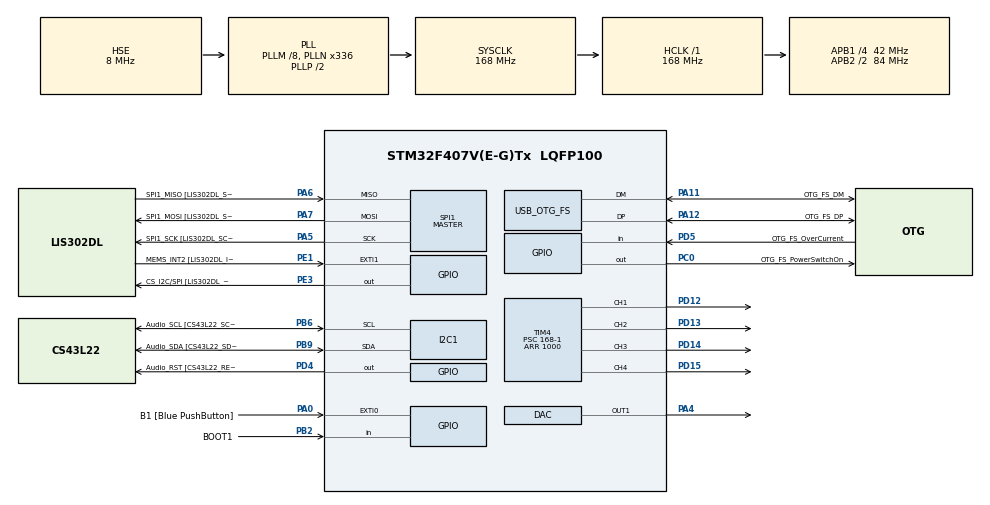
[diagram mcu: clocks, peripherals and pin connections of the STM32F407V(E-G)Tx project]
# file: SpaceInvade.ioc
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DAC.DAC_Trigger=DAC_TRIGGER_T2_TRGO
Dma.DAC1.0.Direction=DMA_MEMORY_TO_PERIPH
Dma.DAC1.0.FIFOMode=DMA_FIFOMODE_DISABLE
Dma.DAC1.0.Instance=DMA1_Stream5
Dma.DAC1.0.MemDataAlignment=DMA_MDATAALIGN_WORD
Dma.DAC1.0.MemInc=DMA_MINC_ENABLE
Dma.DAC1.0.Mode=DMA_CIRCULAR
Dma.DAC1.0.PeriphDataAlignment=DMA_PDATAALIGN_WORD
Dma.DAC1.0.PeriphInc=DMA_PINC_DISABLE
Dma.DAC1.0.Priority=DMA_PRIORITY_LOW
Dma.Request0=DAC1
Mcu.Family=STM32F4
Mcu.Name=STM32F407V(E-G)Tx
Mcu.Package=LQFP100
NVIC.DMA1_Stream5_IRQn=true\:0\:0\:false\:false\:true\:false\:true\:true
NVIC.OTG_FS_IRQn=true\:0\:0\:false\:false\:true\:true\:true\:true
NVIC.PriorityGroup=NVIC_PRIORITYGROUP_0
NVIC.TIM2_IRQn=true\:0\:0\:false\:false\:true\:true\:true\:true
NVIC.TIM6_DAC_IRQn=true\:0\:0\:false\:false\:true\:true\:true\:true
PA0-WKUP.GPIO_Label=B1 [Blue PushButton]
PA0-WKUP.GPIO_ModeDefaultEXTI=GPIO_MODE_EVT_RISING
PA0-WKUP.GPIO_PuPd=GPIO_NOPULL
PA0-WKUP.Signal=GPXTI0
PA10.GPIO_Label=OTG_FS_ID
PA10.GPIO_Mode=GPIO_MODE_AF_PP
PA10.GPIO_PuPd=GPIO_NOPULL
PA10.GPIO_Speed=GPIO_SPEED_FREQ_LOW
PA10.Signal=USB_OTG_FS_ID
PA11.GPIO_Label=OTG_FS_DM
PA11.GPIO_Mode=GPIO_MODE_AF_PP
PA11.GPIO_PuPd=GPIO_NOPULL
PA11.GPIO_Speed=GPIO_SPEED_FREQ_LOW
PA11.Mode=Device_Only
PA11.Signal=USB_OTG_FS_DM
PA12.GPIO_Label=OTG_FS_DP
PA12.GPIO_Mode=GPIO_MODE_AF_PP
PA12.GPIO_PuPd=GPIO_NOPULL
PA12.GPIO_Speed=GPIO_SPEED_FREQ_LOW
PA12.Mode=Device_Only
PA12.Signal=USB_OTG_FS_DP
PA13.GPIO_Label=SWDIO
PA13.Mode=Serial_Wire
PA13.Signal=SYS_JTMS-SWDIO
PA14.GPIO_Label=SWCLK
PA14.Mode=Serial_Wire
PA14.Signal=SYS_JTCK-SWCLK
PA4.Signal=COMP_DAC1_group
PA5.GPIO_Label=SPI1_SCK [LIS302DL_SCL/SPC]
PA5.GPIO_Mode=GPIO_MODE_AF_PP
PA5.GPIO_PuPd=GPIO_NOPULL
PA5.GPIO_Speed=GPIO_SPEED_FREQ_LOW
PA5.Mode=Full_Duplex_Master
PA5.Signal=SPI1_SCK
PA6.GPIO_Label=SPI1_MISO [LIS302DL_SDO]
PA6.GPIO_Mode=GPIO_MODE_AF_PP
PA6.GPIO_PuPd=GPIO_NOPULL
PA6.GPIO_Speed=GPIO_SPEED_FREQ_LOW
PA6.Mode=Full_Duplex_Master
PA6.Signal=SPI1_MISO
PA7.GPIO_Label=SPI1_MOSI [LIS302DL_SDA/SDI/SDO]
PA7.GPIO_Mode=GPIO_MODE_AF_PP
PA7.GPIO_PuPd=GPIO_NOPULL
PA7.GPIO_Speed=GPIO_SPEED_FREQ_LOW
PA7.Mode=Full_Duplex_Master
PA7.Signal=SPI1_MOSI
PA9.GPIO_Label=VBUS_FS
PA9.GPIO_Mode=GPIO_MODE_INPUT
PA9.GPIO_PuPd=GPIO_NOPULL
PA9.Signal=USB_OTG_FS_VBUS
PB10.GPIO_Label=CLK_IN [MP45DT02_CLK]
PB10.GPIO_Mode=GPIO_MODE_AF_PP
PB10.GPIO_PuPd=GPIO_NOPULL
PB10.GPIO_Speed=GPIO_SPEED_FREQ_LOW
PB10.Signal=I2S2_CK
PB2.GPIO_Label=BOOT1
PB2.GPIO_Mode=GPIO_MODE_INPUT
PB2.GPIO_PuPd=GPIO_NOPULL
PB2.Signal=GPIO_Input
PB3.GPIO_Label=SWO
PB3.Signal=SYS_JTDO-SWO
PB6.GPIO_Label=Audio_SCL [CS43L22_SCL]
PB6.GPIO_Mode=GPIO_MODE_AF_OD
PB6.GPIO_Pu=GPIO_PULLUP
PB6.GPIO_PuPd=GPIO_NOPULL
PB6.GPIO_Speed=GPIO_SPEED_FREQ_LOW
PB6.Mode=I2C
PB6.Signal=I2C1_SCL
PB9.GPIO_Label=Audio_SDA [CS43L22_SDA]
PB9.GPIO_Mode=GPIO_MODE_AF_OD
PB9.GPIO_Pu=GPIO_PULLUP
PB9.GPIO_PuPd=GPIO_NOPULL
PB9.GPIO_Speed=GPIO_SPEED_FREQ_LOW
PB9.Mode=I2C
PB9.Signal=I2C1_SDA
PC0.GPIO_Label=OTG_FS_PowerSwitchOn
PC0.GPIO_PuPd=GPIO_NOPULL
PC0.GPIO_Speed=GPIO_SPEED_FREQ_LOW
PC0.PinState=GPIO_PIN_SET
PC0.Signal=GPIO_Output
PC10.GPIO_Label=I2S3_SCK [CS43L22_SCLK]
PC10.GPIO_Mode=GPIO_MODE_AF_PP
PC10.GPIO_PuPd=GPIO_NOPULL
PC10.GPIO_Speed=GPIO_SPEED_FREQ_LOW
PC10.Signal=I2S3_CK
PC12.GPIO_Label=I2S3_SD [CS43L22_SDIN]
PC12.GPIO_Mode=GPIO_MODE_AF_PP
PC12.GPIO_PuPd=GPIO_NOPULL
PC12.GPIO_Speed=GPIO_SPEED_FREQ_LOW
PC12.Signal=I2S3_SD
PC14-OSC32_IN.GPIO_Label=PC14-OSC32_IN
PC14-OSC32_IN.Mode=LSE-External-Oscillator
PC14-OSC32_IN.Signal=RCC_OSC32_IN
PC15-OSC32_OUT.GPIO_Label=PC15-OSC32_OUT
PC15-OSC32_OUT.Mode=LSE-External-Oscillator
PC15-OSC32_OUT.Signal=RCC_OSC32_OUT
PC3.GPIO_Label=PDM_OUT [MP45DT02_DOUT]
PC3.GPIO_Mode=GPIO_MODE_AF_PP
PC3.GPIO_PuPd=GPIO_NOPULL
PC3.GPIO_Speed=GPIO_SPEED_FREQ_LOW
PC3.Signal=I2S2_SD
PC7.GPIO_Label=I2S3_MCK [CS43L22_MCLK]
PC7.GPIO_Mode=GPIO_MODE_AF_PP
PC7.GPIO_PuPd=GPIO_NOPULL
PC7.GPIO_Speed=GPIO_SPEED_FREQ_LOW
PC7.Signal=I2S3_MCK
PD12.Signal=S_TIM4_CH1
PD13.Signal=S_TIM4_CH2
PD14.Signal=S_TIM4_CH3
PD15.Signal=S_TIM4_CH4
PD4.GPIO_Label=Audio_RST [CS43L22_RESET]
PD4.GPIO_PuPd=GPIO_NOPULL
PD4.GPIO_Speed=GPIO_SPEED_FREQ_LOW
PD4.Signal=GPIO_Output
PD5.GPIO_Label=OTG_FS_OverCurrent
PD5.GPIO_Mode=GPIO_MODE_INPUT
PD5.GPIO_PuPd=GPIO_NOPULL
PD5.Signal=GPIO_Input
PE1.GPIO_Label=MEMS_INT2 [LIS302DL_INT2]
PE1.GPIO_ModeDefaultEXTI=GPIO_MODE_EVT_RISING
PE1.GPIO_PuPd=GPIO_NOPULL
PE1.Signal=GPXTI1
PE3.GPIO_Label=CS_I2C/SPI [LIS302DL_CS_I2C/SPI]
PE3.GPIO_PuPd=GPIO_NOPULL
PE3.GPIO_Speed=GPIO_SPEED_FREQ_LOW
PE3.Signal=GPIO_Output
PH0-OSC_IN.GPIO_Label=PH0-OSC_IN
PH0-OSC_IN.Mode=HSE-External-Oscillator
PH0-OSC_IN.Signal=RCC_OSC_IN
PH1-OSC_OUT.GPIO_Label=PH1-OSC_OUT
PH1-OSC_OUT.Mode=HSE-External-Oscillator
PH1-OSC_OUT.Signal=RCC_OSC_OUT
ProjectManager.HeapSize=0x200
ProjectManager.StackSize=0x400
ProjectManager.TargetToolchain=STM32CubeIDE
RCC.48MHZClocksFreq_Value=48000000
RCC.AHBFreq_Value=168000000
RCC.APB1CLKDivider=RCC_HCLK_DIV4
RCC.APB1Freq_Value=42000000
RCC.APB1TimFreq_Value=84000000
RCC.APB2CLKDivider=RCC_HCLK_DIV2
RCC.APB2Freq_Value=84000000
RCC.APB2TimFreq_Value=168000000
RCC.CortexFreq_Value=168000000
RCC.HCLKFreq_Value=168000000
RCC.HSE_VALUE=8000000
RCC.HSI_VALUE=16000000
RCC.PLLM=8
RCC.PLLN=336
RCC.PLLQ=7
RCC.SYSCLKFreq_VALUE=168000000
RCC.SYSCLKSource=RCC_SYSCLKSOURCE_PLLCLK
RCC.VCOOutputFreq_Value=336000000
SH.COMP_DAC1_group.0=DAC_OUT1,DAC_OUT1
SH.S_TIM4_CH1.0=TIM4_CH1,PWM Generation1 CH1
SH.S_TIM4_CH2.0=TIM4_CH2,PWM Generation2 CH2
SH.S_TIM4_CH3.0=TIM4_CH3,PWM Generation3 CH3
SH.S_TIM4_CH4.0=TIM4_CH4,PWM Generation4 CH4
SPI1.BaudRatePrescaler-Full_Duplex_Master=SPI_BAUDRATEPRESCALER_2
SPI1.CalculateBaudRate-Full_Duplex_Master=42.0 MBits/s
SPI1.Direction=SPI_DIRECTION_2LINES
SPI1.Mode=SPI_MODE_MASTER
SPI1.Mode-Full_Duplex_Master=SPI_MODE_MASTER
SPI1.VirtualType=VM_MASTER
TIM2.Period=100-1
TIM2.Prescaler=10-1
TIM2.TIM_MasterOutputTrigger=TIM_TRGO_UPDATE
TIM4.AutoReloadPreload=TIM_AUTORELOAD_PRELOAD_ENABLE
TIM4.Channel-PWM\ Generation1\ CH1=TIM_CHANNEL_1
TIM4.Channel-PWM\ Generation2\ CH2=TIM_CHANNEL_2
TIM4.Channel-PWM\ Generation3\ CH3=TIM_CHANNEL_3
TIM4.Channel-PWM\ Generation4\ CH4=TIM_CHANNEL_4
TIM4.Period=1000
TIM4.Prescaler=168-1
TIM6.AutoReloadPreload=TIM_AUTORELOAD_PRELOAD_ENABLE
TIM6.Period=20000
TIM6.Prescaler=168-1
USB_DEVICE.CLASS_NAME_FS=CDC
USB_DEVICE.VirtualMode-CDC_FS=Cdc
USB_DEVICE.VirtualModeFS=Cdc_FS
USB_OTG_FS.VirtualMode=Device_Only
VP_TIM2_VS_ClockSourceINT.Mode=Internal
VP_TIM4_VS_ClockSourceINT.Mode=Internal
VP_TIM6_VS_ClockSourceINT.Mode=Enable_Timer
VP_USB_DEVICE_VS_USB_DEVICE_CDC_FS.Mode=CDC_FS
board=STM32F407G-DISC1

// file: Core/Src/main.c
/* USER CODE BEGIN Header */
/**
  ******************************************************************************
  * @file           : main.c
  * @brief          : Main program body
  ******************************************************************************
  * @attention
  *
  * Copyright (c) 2023 STMicroelectronics.
  * All rights reserved.
  *
  * This software is licensed under terms that can be found in the LICENSE file
  * in the root directory of this software component.
  * If no LICENSE file comes with this software, it is provided AS-IS.
  *
  ******************************************************************************
  */
/* USER CODE END Header */
#include "main.h"
#include "usb_device.h"

/* USER CODE BEGIN Includes */
#include "LIS3DSH.h"
#include "usbd_cdc_if.h"
/* USER CODE END Includes */

/* USER CODE BEGIN PD */
#define Ns 128 					// Number of samples for the DMA buffer
/* USER CODE END PD */

DAC_HandleTypeDef hdac;
DMA_HandleTypeDef hdma_dac1;

I2C_HandleTypeDef hi2c1;

SPI_HandleTypeDef hspi1;

TIM_HandleTypeDef htim2;
TIM_HandleTypeDef htim4;
TIM_HandleTypeDef htim6;

void SystemClock_Config(void);
static void MX_GPIO_Init(void);
static void MX_DMA_Init(void);
static void MX_I2C1_Init(void);
static void MX_SPI1_Init(void);
static void MX_TIM6_Init(void);
static void MX_TIM4_Init(void);
static void MX_DAC_Init(void);
static void MX_TIM2_Init(void);
/* USER CODE BEGIN PFP */
void setSineData(int8_t roll, int8_t pitch);
/* USER CODE END PFP */

/* USER CODE BEGIN 0 */

// Initialize Variables
int16_t pData[3] = {0};
int8_t pAngles[2] = {0};
char txBuffer[10] = "";
uint32_t pSineData[Ns];
uint16_t rollFwdPWM = 0;
uint16_t rollBackPWM = 0;
uint16_t pitchRightPWM = 0;
uint16_t pitchLeftPWM = 0;

void setSineData(int8_t pitch, int8_t roll){

	// Calculate frequency and amplitude proportional to pitch and roll
	uint8_t frequency = (uint8_t)(pitch < 0 ? -1*pitch : pitch);
	float amplitude = (fabsf(roll)+1) / 90.0;

    for (uint8_t i = 0; i < Ns; i++)
    {
        // Calculate the amplitude of the sine wave (scaled to DAC's 12-bit resolution)
        // Adjust the amplitude proportionally to the roll value
    	pSineData[i] = ((uint32_t)((sin(2 * 3.1415 * i / Ns) + 1) * (4096 / 2))) * amplitude;
    }

    // Adjust the frequency of the sine wave proportionally to the pitch value
    uint16_t new_ARR = 90 - frequency; // Modify the value as needed based on the desired range for pitch
    htim2.Instance->ARR = new_ARR;
}

void HAL_TIM_PeriodElapsedCallback(TIM_HandleTypeDef *htim){
	// Execute the following for timer 6
	if(htim == &htim6){

		// Get accelerometer XYZ coordinates and calculate pitch and roll
		ACCELERO_GetXYZ(pData);
		calcAngles(pData, pAngles);

		// Convert pitch and roll to string format
		sprintf(txBuffer, "%d,%d\r\n", pAngles[0], pAngles[1]);

		// Transmit pitch and roll values over USB_OTG_FS
		CDC_Transmit_FS((uint8_t*)txBuffer, strlen(txBuffer));
	}
}
/* USER CODE END 0 */

int main(void)
{

  /* MCU Configuration--------------------------------------------------------*/

  /* Reset of all peripherals, Initializes the Flash interface and the Systick. */
  HAL_Init();

  /* Configure the system clock */
  SystemClock_Config();

  /* Initialize all configured peripherals */
  MX_GPIO_Init();
  MX_DMA_Init();
  MX_I2C1_Init();
  MX_SPI1_Init();
  MX_TIM6_Init();
  MX_USB_DEVICE_Init();
  MX_TIM4_Init();
  MX_DAC_Init();
  MX_TIM2_Init();
  /* USER CODE BEGIN 2 */

  // Initialize the accelerometer
  ACCELERO_Init();

  // Start the timer 6 in interrupt mode to generate periodic interrupts.
  HAL_TIM_Base_Start_IT(&htim6);

  // Start the PWM output on timer 4 for channels 1, 2, 3, and 4. This enables the PWM output for LEDS
  HAL_TIM_PWM_Start(&htim4, TIM_CHANNEL_1);
  HAL_TIM_PWM_Start(&htim4, TIM_CHANNEL_2);
  HAL_TIM_PWM_Start(&htim4, TIM_CHANNEL_3);
  HAL_TIM_PWM_Start(&htim4, TIM_CHANNEL_4);

  // Start the timer 2 in normal mode
  HAL_TIM_Base_Start(&htim2);

  // Set amplitude and frequency for DAC sinewave output
  setSineData(pAngles[0], pAngles[1]);

  // Start the DMA (Direct Memory Access) transfer to DAC (Digital-to-Analog Converter) channel 1 in 12-bit right alignment.
  // pSineData is the buffer containing sine wave data, and Ns is the number of data points in the buffer.
  HAL_DAC_Start_DMA(&hdac, DAC_CHANNEL_1, pSineData, Ns, DAC_ALIGN_12B_R);

  /* USER CODE END 2 */

  /* Infinite loop */
  while (1)
  {

    /* USER CODE BEGIN 3 */

	// Calculate pitchLeftPWM and pitchRightPWM based on pAngles[0]
	pitchLeftPWM = (pAngles[0] < 0) ? -pAngles[0] * 100 / 9 : 0;
	pitchRightPWM = (pAngles[0] >= 0) ? pAngles[0] * 100 / 9 : 0;

	// Calculate rollBackPWM and rollFwdPWM based on pAngles[1]
	rollBackPWM = (pAngles[1] < 0) ? -pAngles[1] * 100 / 9 : 0;
	rollFwdPWM = (pAngles[1] >= 0) ? pAngles[1] * 100 / 9 : 0;

	// Set the compare registers of TIM4 to control the PWM output of LEDs
	__HAL_TIM_SET_COMPARE(&htim4, TIM_CHANNEL_1, pitchLeftPWM);
	__HAL_TIM_SET_COMPARE(&htim4, TIM_CHANNEL_2, rollFwdPWM);
	__HAL_TIM_SET_COMPARE(&htim4, TIM_CHANNEL_3, pitchRightPWM);
	__HAL_TIM_SET_COMPARE(&htim4, TIM_CHANNEL_4, rollBackPWM);

	// Set new amplitude and frequency for DAC sinewave output
	setSineData(pAngles[0], pAngles[1]);

  }
  /* USER CODE END 3 */
}

void SystemClock_Config(void)
{
  RCC_OscInitTypeDef RCC_OscInitStruct = {0};
  RCC_ClkInitTypeDef RCC_ClkInitStruct = {0};

  /** Configure the main internal regulator output voltage
  */
  __HAL_RCC_PWR_CLK_ENABLE();
  __HAL_PWR_VOLTAGESCALING_CONFIG(PWR_REGULATOR_VOLTAGE_SCALE1);

  /** Initializes the RCC Oscillators according to the specified parameters
  * in the RCC_OscInitTypeDef structure.
  */
  RCC_OscInitStruct.OscillatorType = RCC_OSCILLATORTYPE_HSE;
  RCC_OscInitStruct.HSEState = RCC_HSE_ON;
  RCC_OscInitStruct.PLL.PLLState = RCC_PLL_ON;
  RCC_OscInitStruct.PLL.PLLSource = RCC_PLLSOURCE_HSE;
  RCC_OscInitStruct.PLL.PLLM = 8;
  RCC_OscInitStruct.PLL.PLLN = 336;
  RCC_OscInitStruct.PLL.PLLP = RCC_PLLP_DIV2;
  RCC_OscInitStruct.PLL.PLLQ = 7;
  if (HAL_RCC_OscConfig(&RCC_OscInitStruct) != HAL_OK)
  {
    Error_Handler();
  }

  /** Initializes the CPU, AHB and APB buses clocks
  */
  RCC_ClkInitStruct.ClockType = RCC_CLOCKTYPE_HCLK|RCC_CLOCKTYPE_SYSCLK
                              |RCC_CLOCKTYPE_PCLK1|RCC_CLOCKTYPE_PCLK2;
  RCC_ClkInitStruct.SYSCLKSource = RCC_SYSCLKSOURCE_PLLCLK;
  RCC_ClkInitStruct.AHBCLKDivider = RCC_SYSCLK_DIV1;
  RCC_ClkInitStruct.APB1CLKDivider = RCC_HCLK_DIV4;
  RCC_ClkInitStruct.APB2CLKDivider = RCC_HCLK_DIV2;

  if (HAL_RCC_ClockConfig(&RCC_ClkInitStruct, FLASH_LATENCY_5) != HAL_OK)
  {
    Error_Handler();
  }
}

static void MX_DAC_Init(void)
{

  DAC_ChannelConfTypeDef sConfig = {0};

  /** DAC Initialization
  */
  hdac.Instance = DAC;
  if (HAL_DAC_Init(&hdac) != HAL_OK)
  {
    Error_Handler();
  }

  /** DAC channel OUT1 config
  */
  sConfig.DAC_Trigger = DAC_TRIGGER_T2_TRGO;
  sConfig.DAC_OutputBuffer = DAC_OUTPUTBUFFER_ENABLE;
  if (HAL_DAC_ConfigChannel(&hdac, &sConfig, DAC_CHANNEL_1) != HAL_OK)
  {
    Error_Handler();
  }

}

static void MX_I2C1_Init(void)
{

  hi2c1.Instance = I2C1;
  hi2c1.Init.ClockSpeed = 100000;
  hi2c1.Init.DutyCycle = I2C_DUTYCYCLE_2;
  hi2c1.Init.OwnAddress1 = 0;
  hi2c1.Init.AddressingMode = I2C_ADDRESSINGMODE_7BIT;
  hi2c1.Init.DualAddressMode = I2C_DUALADDRESS_DISABLE;
  hi2c1.Init.OwnAddress2 = 0;
  hi2c1.Init.GeneralCallMode = I2C_GENERALCALL_DISABLE;
  hi2c1.Init.NoStretchMode = I2C_NOSTRETCH_DISABLE;
  if (HAL_I2C_Init(&hi2c1) != HAL_OK)
  {
    Error_Handler();
  }

}

static void MX_SPI1_Init(void)
{

  /* SPI1 parameter configuration*/
  hspi1.Instance = SPI1;
  hspi1.Init.Mode = SPI_MODE_MASTER;
  hspi1.Init.Direction = SPI_DIRECTION_2LINES;
  hspi1.Init.DataSize = SPI_DATASIZE_8BIT;
  hspi1.Init.CLKPolarity = SPI_POLARITY_LOW;
  hspi1.Init.CLKPhase = SPI_PHASE_1EDGE;
  hspi1.Init.NSS = SPI_NSS_SOFT;
  hspi1.Init.BaudRatePrescaler = SPI_BAUDRATEPRESCALER_16;
  hspi1.Init.FirstBit = SPI_FIRSTBIT_MSB;
  hspi1.Init.TIMode = SPI_TIMODE_DISABLE;
  hspi1.Init.CRCCalculation = SPI_CRCCALCULATION_DISABLE;
  hspi1.Init.CRCPolynomial = 10;
  if (HAL_SPI_Init(&hspi1) != HAL_OK)
  {
    Error_Handler();
  }

}

static void MX_TIM2_Init(void)
{

  TIM_ClockConfigTypeDef sClockSourceConfig = {0};
  TIM_MasterConfigTypeDef sMasterConfig = {0};

  htim2.Instance = TIM2;
  htim2.Init.Prescaler = 10-1;
  htim2.Init.CounterMode = TIM_COUNTERMODE_UP;
  htim2.Init.Period = 100-1;
  htim2.Init.ClockDivision = TIM_CLOCKDIVISION_DIV1;
  htim2.Init.AutoReloadPreload = TIM_AUTORELOAD_PRELOAD_ENABLE;
  if (HAL_TIM_Base_Init(&htim2) != HAL_OK)
  {
    Error_Handler();
  }
  sClockSourceConfig.ClockSource = TIM_CLOCKSOURCE_INTERNAL;
  if (HAL_TIM_ConfigClockSource(&htim2, &sClockSourceConfig) != HAL_OK)
  {
    Error_Handler();
  }
  sMasterConfig.MasterOutputTrigger = TIM_TRGO_UPDATE;
  sMasterConfig.MasterSlaveMode = TIM_MASTERSLAVEMODE_DISABLE;
  if (HAL_TIMEx_MasterConfigSynchronization(&htim2, &sMasterConfig) != HAL_OK)
  {
    Error_Handler();
  }

}

static void MX_TIM4_Init(void)
{

  TIM_ClockConfigTypeDef sClockSourceConfig = {0};
  TIM_MasterConfigTypeDef sMasterConfig = {0};
  TIM_OC_InitTypeDef sConfigOC = {0};

  htim4.Instance = TIM4;
  htim4.Init.Prescaler = 168-1;
  htim4.Init.CounterMode = TIM_COUNTERMODE_UP;
  htim4.Init.Period = 1000;
  htim4.Init.ClockDivision = TIM_CLOCKDIVISION_DIV1;
  htim4.Init.AutoReloadPreload = TIM_AUTORELOAD_PRELOAD_ENABLE;
  if (HAL_TIM_Base_Init(&htim4) != HAL_OK)
  {
    Error_Handler();
  }
  sClockSourceConfig.ClockSource = TIM_CLOCKSOURCE_INTERNAL;
  if (HAL_TIM_ConfigClockSource(&htim4, &sClockSourceConfig) != HAL_OK)
  {
    Error_Handler();
  }
  if (HAL_TIM_PWM_Init(&htim4) != HAL_OK)
  {
    Error_Handler();
  }
  sMasterConfig.MasterOutputTrigger = TIM_TRGO_RESET;
  sMasterConfig.MasterSlaveMode = TIM_MASTERSLAVEMODE_DISABLE;
  if (HAL_TIMEx_MasterConfigSynchronization(&htim4, &sMasterConfig) != HAL_OK)
  {
    Error_Handler();
  }
  sConfigOC.OCMode = TIM_OCMODE_PWM1;
  sConfigOC.Pulse = 0;
  sConfigOC.OCPolarity = TIM_OCPOLARITY_HIGH;
  sConfigOC.OCFastMode = TIM_OCFAST_DISABLE;
  if (HAL_TIM_PWM_ConfigChannel(&htim4, &sConfigOC, TIM_CHANNEL_1) != HAL_OK)
  {
    Error_Handler();
  }
  if (HAL_TIM_PWM_ConfigChannel(&htim4, &sConfigOC, TIM_CHANNEL_2) != HAL_OK)
  {
    Error_Handler();
  }
  if (HAL_TIM_PWM_ConfigChannel(&htim4, &sConfigOC, TIM_CHANNEL_3) != HAL_OK)
  {
    Error_Handler();
  }
  if (HAL_TIM_PWM_ConfigChannel(&htim4, &sConfigOC, TIM_CHANNEL_4) != HAL_OK)
  {
    Error_Handler();
  }
  HAL_TIM_MspPostInit(&htim4);

}

static void MX_TIM6_Init(void)
{

  TIM_MasterConfigTypeDef sMasterConfig = {0};

  htim6.Instance = TIM6;
  htim6.Init.Prescaler = 168-1;
  htim6.Init.CounterMode = TIM_COUNTERMODE_UP;
  htim6.Init.Period = 20000;
  htim6.Init.AutoReloadPreload = TIM_AUTORELOAD_PRELOAD_ENABLE;
  if (HAL_TIM_Base_Init(&htim6) != HAL_OK)
  {
    Error_Handler();
  }
  sMasterConfig.MasterOutputTrigger = TIM_TRGO_RESET;
  sMasterConfig.MasterSlaveMode = TIM_MASTERSLAVEMODE_DISABLE;
  if (HAL_TIMEx_MasterConfigSynchronization(&htim6, &sMasterConfig) != HAL_OK)
  {
    Error_Handler();
  }

}

static void MX_DMA_Init(void)
{

  /* DMA controller clock enable */
  __HAL_RCC_DMA1_CLK_ENABLE();

  /* DMA interrupt init */
  /* DMA1_Stream5_IRQn interrupt configuration */
  HAL_NVIC_SetPriority(DMA1_Stream5_IRQn, 0, 0);
  HAL_NVIC_EnableIRQ(DMA1_Stream5_IRQn);

}

static void MX_GPIO_Init(void)
{
  GPIO_InitTypeDef GPIO_InitStruct = {0};

  /* GPIO Ports Clock Enable */
  __HAL_RCC_GPIOE_CLK_ENABLE();
  __HAL_RCC_GPIOC_CLK_ENABLE();
  __HAL_RCC_GPIOH_CLK_ENABLE();
  __HAL_RCC_GPIOA_CLK_ENABLE();
  __HAL_RCC_GPIOB_CLK_ENABLE();
  __HAL_RCC_GPIOD_CLK_ENABLE();

  /*Configure GPIO pin Output Level */
  HAL_GPIO_WritePin(CS_I2C_SPI_GPIO_Port, CS_I2C_SPI_Pin, GPIO_PIN_RESET);

  /*Configure GPIO pin Output Level */
  HAL_GPIO_WritePin(OTG_FS_PowerSwitchOn_GPIO_Port, OTG_FS_PowerSwitchOn_Pin, GPIO_PIN_SET);

  /*Configure GPIO pin Output Level */
  HAL_GPIO_WritePin(Audio_RST_GPIO_Port, Audio_RST_Pin, GPIO_PIN_RESET);

  /*Configure GPIO pin : CS_I2C_SPI_Pin */
  GPIO_InitStruct.Pin = CS_I2C_SPI_Pin;
  GPIO_InitStruct.Mode = GPIO_MODE_OUTPUT_PP;
  GPIO_InitStruct.Pull = GPIO_NOPULL;
  GPIO_InitStruct.Speed = GPIO_SPEED_FREQ_LOW;
  HAL_GPIO_Init(CS_I2C_SPI_GPIO_Port, &GPIO_InitStruct);

  /*Configure GPIO pin : OTG_FS_PowerSwitchOn_Pin */
  GPIO_InitStruct.Pin = OTG_FS_PowerSwitchOn_Pin;
  GPIO_InitStruct.Mode = GPIO_MODE_OUTPUT_PP;
  GPIO_InitStruct.Pull = GPIO_NOPULL;
  GPIO_InitStruct.Speed = GPIO_SPEED_FREQ_LOW;
  HAL_GPIO_Init(OTG_FS_PowerSwitchOn_GPIO_Port, &GPIO_InitStruct);

  /*Configure GPIO pin : PDM_OUT_Pin */
  GPIO_InitStruct.Pin = PDM_OUT_Pin;
  GPIO_InitStruct.Mode = GPIO_MODE_AF_PP;
  GPIO_InitStruct.Pull = GPIO_NOPULL;
  GPIO_InitStruct.Speed = GPIO_SPEED_FREQ_LOW;
  GPIO_InitStruct.Alternate = GPIO_AF5_SPI2;
  HAL_GPIO_Init(PDM_OUT_GPIO_Port, &GPIO_InitStruct);

  /*Configure GPIO pin : B1_Pin */
  GPIO_InitStruct.Pin = B1_Pin;
  GPIO_InitStruct.Mode = GPIO_MODE_EVT_RISING;
  GPIO_InitStruct.Pull = GPIO_NOPULL;
  HAL_GPIO_Init(B1_GPIO_Port, &GPIO_InitStruct);

  /*Configure GPIO pin : BOOT1_Pin */
  GPIO_InitStruct.Pin = BOOT1_Pin;
  GPIO_InitStruct.Mode = GPIO_MODE_INPUT;
  GPIO_InitStruct.Pull = GPIO_NOPULL;
  HAL_GPIO_Init(BOOT1_GPIO_Port, &GPIO_InitStruct);

  /*Configure GPIO pin : CLK_IN_Pin */
  GPIO_InitStruct.Pin = CLK_IN_Pin;
  GPIO_InitStruct.Mode = GPIO_MODE_AF_PP;
  GPIO_InitStruct.Pull = GPIO_NOPULL;
  GPIO_InitStruct.Speed = GPIO_SPEED_FREQ_LOW;
  GPIO_InitStruct.Alternate = GPIO_AF5_SPI2;
  HAL_GPIO_Init(CLK_IN_GPIO_Port, &GPIO_InitStruct);

  /*Configure GPIO pins : I2S3_MCK_Pin I2S3_SCK_Pin I2S3_SD_Pin */
  GPIO_InitStruct.Pin = I2S3_MCK_Pin|I2S3_SCK_Pin|I2S3_SD_Pin;
  GPIO_InitStruct.Mode = GPIO_MODE_AF_PP;
  GPIO_InitStruct.Pull = GPIO_NOPULL;
  GPIO_InitStruct.Speed = GPIO_SPEED_FREQ_LOW;
  GPIO_InitStruct.Alternate = GPIO_AF6_SPI3;
  HAL_GPIO_Init(GPIOC, &GPIO_InitStruct);

  /*Configure GPIO pin : Audio_RST_Pin */
  GPIO_InitStruct.Pin = Audio_RST_Pin;
  GPIO_InitStruct.Mode = GPIO_MODE_OUTPUT_PP;
  GPIO_InitStruct.Pull = GPIO_NOPULL;
  GPIO_InitStruct.Speed = GPIO_SPEED_FREQ_LOW;
  HAL_GPIO_Init(Audio_RST_GPIO_Port, &GPIO_InitStruct);

  /*Configure GPIO pin : OTG_FS_OverCurrent_Pin */
  GPIO_InitStruct.Pin = OTG_FS_OverCurrent_Pin;
  GPIO_InitStruct.Mode = GPIO_MODE_INPUT;
  GPIO_InitStruct.Pull = GPIO_NOPULL;
  HAL_GPIO_Init(OTG_FS_OverCurrent_GPIO_Port, &GPIO_InitStruct);

  /*Configure GPIO pin : MEMS_INT2_Pin */
  GPIO_InitStruct.Pin = MEMS_INT2_Pin;
  GPIO_InitStruct.Mode = GPIO_MODE_EVT_RISING;
  GPIO_InitStruct.Pull = GPIO_NOPULL;
  HAL_GPIO_Init(MEMS_INT2_GPIO_Port, &GPIO_InitStruct);

}

void Error_Handler(void)
{
  __disable_irq();
  while (1)
  {
  }
}
